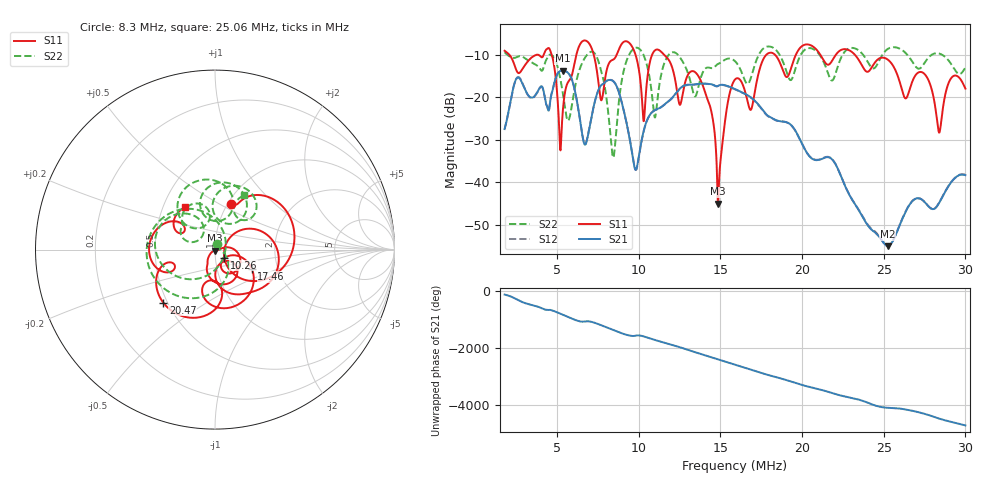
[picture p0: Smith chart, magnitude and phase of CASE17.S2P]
!Agilent Technologies,E5061B,MY49101568,A.02.00
!Date: Wed Mar 01 14:02:13 2023
!Data & Calibration Information:
!Freq	S11:SOLT2(OFF)	S21:SOLT2(OFF)	S12:SOLT2(OFF)	S22:SOLT2(OFF)
# Hz S dB R 50
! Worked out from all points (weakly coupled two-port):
!   1155 points, 1.8 MHz to 30 MHz, reference 50 ohm
!   highest |S21| = -13.75 dB at 5.343 MHz (marker M1); lowest = -55.1 dB at 25.23 MHz (marker M2)
!   lowest |S11| = -45.0 dB at 14.85 MHz (marker M3), VSWR 1.01, Z = 49.9 - j0.555 ohm
!   |S11| at or under -10 dB: 2.086 MHz to 3.785 MHz (1.699 MHz wide, 57.9 % of centre); 11.55 MHz to 17.82 MHz (6.265 MHz wide, 42.7 % of centre); 23.23 MHz to end of sweep (the widest 3 of 9)
!   |S22| runs from -34.2 to -8.1 dB; largest |S21 - S12| = 0.0033
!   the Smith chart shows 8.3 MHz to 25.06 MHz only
!   S11 on the Smith chart (normalised r, x): 8.3 MHz: 1.04, +0.56; 10.26 MHz: 1.10, -0.10; 17.46 MHz: 1.47, -0.33; 20.47 MHz: 0.47, -0.34; 25.06 MHz: 0.65, +0.33
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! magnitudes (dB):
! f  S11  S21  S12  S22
! 1.8 MHz  -9.1  -27.5  -27.5  -9.4
! 2.606 MHz  -14.2  -15.4  -15.3  -10.5
! 4.537 MHz  -8.6  -22.6  -22.6  -10.0
! 5.343 MHz  -24.2  -13.7  -13.8  -18.6
! 6.516 MHz  -7.0  -27.9  -27.9  -12.2
! 7.494 MHz  -15.1  -18.8  -18.8  -11.0
! 8.3 MHz  -11.5  -16.0  -15.9  -29.9
! 9.791 MHz  -9.8  -37.0  -36.9  -8.4
! 10.26 MHz  -23.3  -28.8  -29.0  -9.7
! 11.21 MHz  -8.8  -22.7  -22.7  -18.8
! 12.53 MHz  -21.8  -18.0  -18.1  -10.6
! 13.8 MHz  -16.0  -16.8  -16.9  -15.5
! 14.85 MHz  -45.0  -17.4  -17.4  -12.2
! 15.9 MHz  -15.8  -18.1  -18.2  -11.5
! 17.46 MHz  -12.7  -22.3  -22.5  -9.3
! 20.47 MHz  -7.7  -33.9  -33.9  -8.4
! 20.62 MHz  -7.9  -34.5  -34.4  -8.6
! 25.06 MHz  -10.8  -54.5  -54.5  -9.3
! 25.23 MHz  -11.1  -55.1  -54.9  -8.7
! 25.31 MHz  -11.3  -54.9  -54.8  -8.5
! 28.39 MHz  -28.3  -44.9  -44.9  -9.7
! 30 MHz  -18.0  -38.3  -38.3  -13.0
